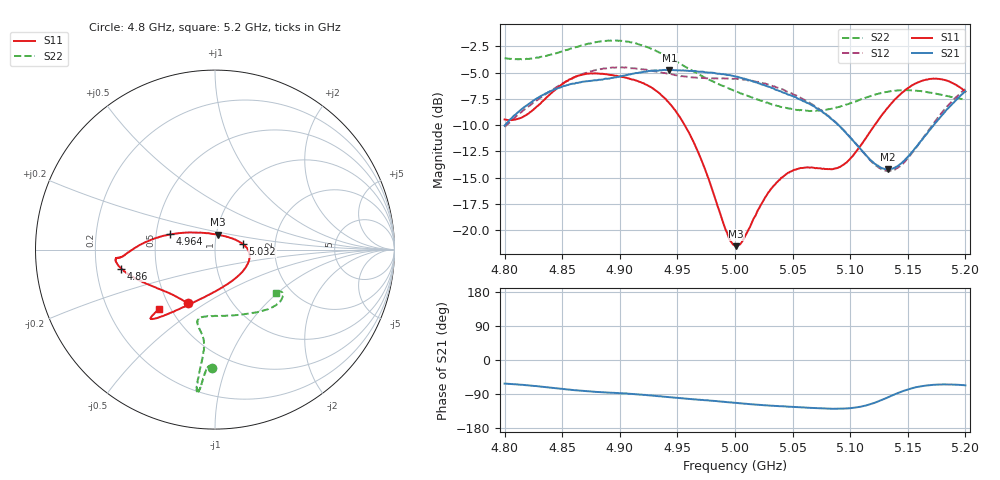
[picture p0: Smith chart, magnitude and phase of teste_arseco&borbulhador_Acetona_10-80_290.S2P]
! Network Analyzer HP8722D
! Hewlett-Packard
! Data name: Linha & Wilkinson
! Saver's name: Rodrigo Anjos
! Comments: Teste da utilização de aquisição
! continua pelo VNA HP8722D
! Time and date: 17/4/2025 16:46
!  Frequency  S11  S21  S12  S22
# HZ  S  MA R 50
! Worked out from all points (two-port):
!   401 points, 4.8 GHz to 5.2 GHz, reference 50 ohm
!   highest |S21| = -4.75 dB at 4.943 GHz (marker M1); lowest = -14.2 dB at 5.133 GHz (marker M2)
!   |S21| within 3 dB of the highest: 4.824 GHz to 5.06 GHz (236.1 MHz wide, 4.78 % of centre); 5.190755 GHz to end of sweep
!   lowest |S11| = -21.5 dB at 5.001 GHz (marker M3), VSWR 1.18, Z = 50.7 + j8.48 ohm
!   |S11| at or under -10 dB: 4.956 GHz to 5.121 GHz (164.9 MHz wide, 3.27 % of centre)
!   |S22| runs from -8.7 to -1.9 dB; largest |S21 - S12| = 0.87
!   S11 on the Smith chart (normalised r, x): 4.8 GHz: 0.63, -0.42; 4.86 GHz: 0.31, -0.09; 4.964 GHz: 0.59, +0.11; 5.032 GHz: 1.37, +0.09; 5.2 GHz: 0.43, -0.36
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4.8e9  0.3366 -116.9  0.3149 -62.3  0.3098 -176.6  0.6575 -91.4
4.818e9  0.3514 -136.2  0.3883 -66.3  0.3782 -176.2  0.6512 -93.0
4.86e9  0.5334 -168.6  0.4981 -79.4  0.5315 -179.5  0.7375 -95.5
4.867e9  0.5488 -171.3  0.5076 -81.3  0.5512 179.2  0.7549 -95.8
4.9e9  0.5387 -175.2  0.5382 -87.6  0.5947 173.1  0.7966 -97.2
4.934e9  0.4502 179.1  0.5753 -95.7  0.5668 169.9  0.7006 -97.3
4.943e9  0.402 175.0  0.5791 -98.2  0.5532 170.0  0.6617 -97.1
4.964e9  0.2635 161.2  0.5711 -103.6  0.5329 171.9  0.5691 -96.4
4.993e9  0.09787 111.1  0.5475 -111.2  0.5268 174.1  0.4767 -98.8
5e9  0.08504 84.4  0.5387 -113.1  0.5259 174.3  0.4585 -100.3
5.001e9  0.08416 80.3  0.5378 -113.1  0.5255 174.3  0.4578 -100.5
5.007e9  0.09001 57.4  0.5269 -114.9  0.5206 174.1  0.4433 -101.7
5.032e9  0.159 11.1  0.4745 -120.6  0.4866 172.8  0.3963 -103.4
5.047e9  0.1885 -3.1  0.4412 -123.1  0.4546 172.2  0.3792 -99.5
5.067e9  0.1989 -24.3  0.3923 -126.5  0.3971 172.0  0.3696 -88.3
5.095e9  0.2066 -72.7  0.2961 -128.2  0.2968 174.6  0.3928 -66.6
5.119e9  0.3037 -109.7  0.2129 -115.2  0.211 -170.4  0.437 -50.5
5.133e9  0.3848 -120.8  0.1954 -98.1  0.1912 -151.4  0.4564 -43.7
5.134e9  0.391 -121.5  0.1956 -96.8  0.1912 -149.8  0.4576 -43.3
5.146e9  0.4556 -127.0  0.2127 -81.8  0.208 -132.5  0.4641 -38.8
5.168e9  0.5226 -132.3  0.2953 -66.9  0.299 -113.2  0.4519 -33.5
5.2e9  0.4564 -133.3  0.4579 -67.0  0.469 -109.0  0.4173 -35.0
